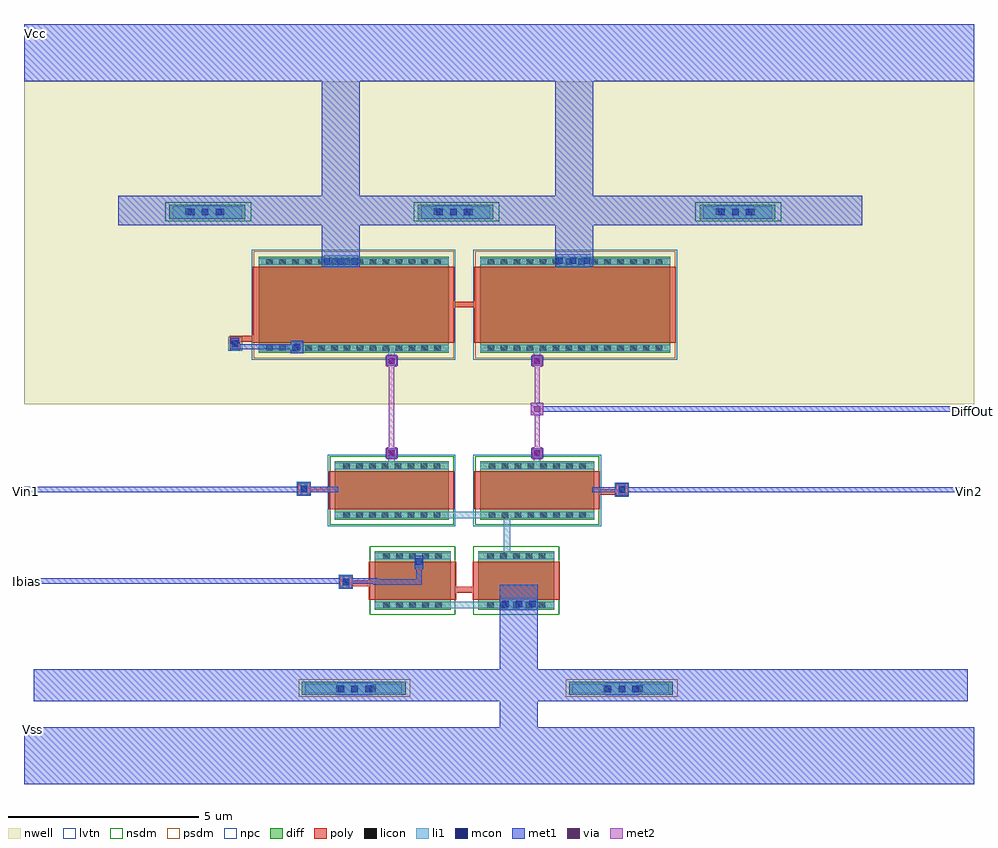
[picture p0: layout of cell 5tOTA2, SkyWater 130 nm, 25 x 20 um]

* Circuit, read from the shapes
.subckt 5tOTA2 DiffOut Ibias Vcc Vin1 Vin2 Vss
XM1 n1 Vin1 n2 VSUBS sky130_fd_pr__nfet_01v8_lvt w=3 l=1
XM2 Ibias Ibias Vss VSUBS sky130_fd_pr__nfet_01v8 w=2 l=1
XM3 n2 Ibias Vss VSUBS sky130_fd_pr__nfet_01v8 w=2 l=1
XM4 DiffOut Vin2 n2 VSUBS sky130_fd_pr__nfet_01v8_lvt w=3 l=1
XM5 Vcc n1 n1 n3 sky130_fd_pr__pfet_01v8_lvt w=5 l=2
XM6 Vcc n1 DiffOut n3 sky130_fd_pr__pfet_01v8_lvt w=5 l=2
.ends

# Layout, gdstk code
from math import pi, radians
import gdstk
lib = gdstk.Library(unit=1e-6, precision=1e-09)
def R(c, l, rs):  # rectangles x0, y0, x1, y1
    for r in rs: c.add(gdstk.rectangle(r[:2], r[2:], *l))
def A(c, l, x, y, w, h, nx, ny, dx, dy):  # array of equal rectangles
    R(c, l, [(x+i*dx, y+j*dy, x+i*dx+w, y+j*dy+h) for i in range(nx) for j in range(ny)])
nwell = (64, 20)
diff = (65, 20)
poly = (66, 20)
licon = (66, 44)
li1 = (67, 20)
mcon = (67, 44)
met1 = (68, 20)
via = (68, 44)
met2 = (69, 20)
nsdm = (93, 44)
psdm = (94, 20)
npc = (95, 20)
lvtn = (125, 44)

pfet_01v8_lvt_cdns_77827 = lib.new_cell('pfet_01v8_lvt_CDNS_778276536562')
R(pfet_01v8_lvt_cdns_77827, nwell, [(-0.445,-0.18,2.445,5.18)])
R(pfet_01v8_lvt_cdns_77827, diff, [(-0.265,0,0,5), (0,0,2,5), (2,0,2.265,5)])
R(pfet_01v8_lvt_cdns_77827, poly, [(0,-0.15,2,-0.095), (0,-0.095,2,0), (0,0,2,5), (0,5,2,5.095), (0,5.095,2,5.15)])
A(pfet_01v8_lvt_cdns_77827, licon, -0.225, 0.205, 0.17, 0.17, 1, 14, 0, 0.34)
A(pfet_01v8_lvt_cdns_77827, licon, 2.055, 0.205, 0.17, 0.17, 1, 14, 0, 0.34)
R(pfet_01v8_lvt_cdns_77827, li1, [(-0.225,0,-0.055,5), (2.055,0,2.225,5)])
R(pfet_01v8_lvt_cdns_77827, psdm, [(-0.405,-0.13,2.405,5.13)])
R(pfet_01v8_lvt_cdns_77827, lvtn, [(-0.445,-0.18,2.445,5.18)])

nfet_01v8_lvt_cdns_77827 = lib.new_cell('nfet_01v8_lvt_CDNS_778276536563')
R(nfet_01v8_lvt_cdns_77827, diff, [(-0.265,0,0,3), (0,0,1,3), (1,0,1.265,3)])
R(nfet_01v8_lvt_cdns_77827, poly, [(0,-0.15,1,-0.095), (0,-0.095,1,0), (0,0,1,3), (0,3,1,3.095), (0,3.095,1,3.15)])
A(nfet_01v8_lvt_cdns_77827, licon, -0.225, 0.225, 0.17, 0.17, 1, 8, 0, 0.34)
A(nfet_01v8_lvt_cdns_77827, licon, 1.055, 0.225, 0.17, 0.17, 1, 8, 0, 0.34)
R(nfet_01v8_lvt_cdns_77827, li1, [(-0.225,0,-0.055,3), (1.055,0,1.225,3)])
R(nfet_01v8_lvt_cdns_77827, nsdm, [(-0.405,-0.13,1.405,3.13)])
R(nfet_01v8_lvt_cdns_77827, lvtn, [(-0.445,-0.18,1.445,3.18)])

nfet_01v8_cdns_778276536 = lib.new_cell('nfet_01v8_CDNS_778276536564')
R(nfet_01v8_cdns_778276536, diff, [(-0.265,0,0,2), (0,0,1,2), (1,0,1.265,2)])
R(nfet_01v8_cdns_778276536, poly, [(0,-0.15,1,-0.095), (0,-0.095,1,0), (0,0,1,2), (0,2,1,2.095), (0,2.095,1,2.15)])
A(nfet_01v8_cdns_778276536, licon, -0.225, 0.235, 0.17, 0.17, 1, 5, 0, 0.34)
A(nfet_01v8_cdns_778276536, licon, 1.055, 0.235, 0.17, 0.17, 1, 5, 0, 0.34)
R(nfet_01v8_cdns_778276536, li1, [(-0.225,0,-0.055,2), (1.055,0,1.225,2)])
R(nfet_01v8_cdns_778276536, nsdm, [(-0.405,-0.13,1.405,2.13)])

l1m1_c_cdns_778276536569 = lib.new_cell('L1M1_C_CDNS_778276536569')
R(l1m1_c_cdns_778276536569, li1, [(-0.085,-0.085,0.085,0.085)])
R(l1m1_c_cdns_778276536569, mcon, [(-0.085,-0.085,0.085,0.085)])
R(l1m1_c_cdns_778276536569, met1, [(-0.145,-0.115,0.145,0.115)])

m1m2_c_cdns_778276536561 = lib.new_cell('M1M2_C_CDNS_7782765365610')
R(m1m2_c_cdns_778276536561, met1, [(-0.16,-0.13,0.16,0.13)])
R(m1m2_c_cdns_778276536561, via, [(-0.075,-0.075,0.075,0.075)])
R(m1m2_c_cdns_778276536561, met2, [(-0.13,-0.16,0.13,0.16)])

l1m1_c_cdns_778276536561 = lib.new_cell('L1M1_C_CDNS_7782765365611')
R(l1m1_c_cdns_778276536561, li1, [(-0.5,-0.165,0.5,0.165)])
A(l1m1_c_cdns_778276536561, mcon, -0.445, -0.085, 0.17, 0.17, 3, 1, 0.36, 0)
R(l1m1_c_cdns_778276536561, met1, [(-0.5,-0.165,0.5,0.165)])

c_l1m1_c_cdns_778276536561 = lib.new_cell('L1M1_C_CDNS_7782765365612')
R(c_l1m1_c_cdns_778276536561, li1, [(-0.445,-0.165,0.445,0.165)])
A(c_l1m1_c_cdns_778276536561, mcon, -0.445, -0.085, 0.17, 0.17, 3, 1, 0.36, 0)
R(c_l1m1_c_cdns_778276536561, met1, [(-0.475,-0.145,0.475,0.145)])

c_l1m1_c_cdns_778276536561_ = lib.new_cell('L1M1_C_CDNS_7782765365613')
R(c_l1m1_c_cdns_778276536561_, li1, [(-0.165,-0.165,0.165,0.165)])
R(c_l1m1_c_cdns_778276536561_, mcon, [(-0.085,-0.085,0.085,0.085)])
R(c_l1m1_c_cdns_778276536561_, met1, [(-0.165,-0.165,0.165,0.165)])

polyconn_cdns_7782765365 = lib.new_cell('polyConn_CDNS_778276536560')
R(polyconn_cdns_7782765365, poly, [(-0.165,-0.165,0.165,0.165)])
R(polyconn_cdns_7782765365, licon, [(-0.085,-0.085,0.085,0.085)])
R(polyconn_cdns_7782765365, li1, [(-0.085,-0.165,0.085,0.165)])
R(polyconn_cdns_7782765365, mcon, [(-0.085,-0.085,0.085,0.085)])
R(polyconn_cdns_7782765365, met1, [(-0.165,-0.165,0.165,0.165)])
R(polyconn_cdns_7782765365, npc, [(-0.185,-0.185,0.185,0.185)])

c_m1m2_c_cdns_778276536561 = lib.new_cell('M1M2_C_CDNS_7782765365614')
R(c_m1m2_c_cdns_778276536561, met1, [(-0.165,-0.165,0.165,0.165)])
R(c_m1m2_c_cdns_778276536561, via, [(-0.075,-0.075,0.075,0.075)])
R(c_m1m2_c_cdns_778276536561, met2, [(-0.165,-0.165,0.165,0.165)])

c_l1m1_c_cdns_778276536561__ = lib.new_cell('L1M1_C_CDNS_7782765365615')
R(c_l1m1_c_cdns_778276536561__, li1, [(-0.085,-0.165,0.085,0.165)])
R(c_l1m1_c_cdns_778276536561__, mcon, [(-0.085,-0.085,0.085,0.085)])
R(c_l1m1_c_cdns_778276536561__, met1, [(-0.115,-0.145,0.115,0.145)])

c_polyconn_cdns_7782765365 = lib.new_cell('polyConn_CDNS_778276536561')
R(c_polyconn_cdns_7782765365, poly, [(-0.135,-0.165,0.135,0.165)])
R(c_polyconn_cdns_7782765365, licon, [(-0.085,-0.085,0.085,0.085)])
R(c_polyconn_cdns_7782765365, li1, [(-0.085,-0.165,0.085,0.165)])
R(c_polyconn_cdns_7782765365, mcon, [(-0.085,-0.085,0.085,0.085)])
R(c_polyconn_cdns_7782765365, met1, [(-0.115,-0.145,0.115,0.145)])
R(c_polyconn_cdns_7782765365, npc, [(-0.185,-0.185,0.185,0.185)])

c_5tota2 = lib.new_cell('5tOTA2')
R(c_5tota2, nwell, [(-0.05,10.025,24.95,18.525)])
R(c_5tota2, diff, [(7.26,2.375,9.99,2.71), (14.295,2.375,17.025,2.71), (3.775,14.89,5.77,15.265), (10.31,14.89,12.305,15.265), (17.73,14.89,19.725,15.265)])
R(c_5tota2, licon, [(8.165,2.45,8.335,2.62), (15.2,2.45,15.37,2.62), (9.03,2.455,9.2,2.625), (16.065,2.455,16.235,2.625), (5.05,14.995,5.22,15.165), (11.585,14.995,11.755,15.165), (19.005,14.995,19.175,15.165), (4.195,15.005,4.365,15.175), (10.73,15.005,10.9,15.175), (18.15,15.005,18.32,15.175)])
R(c_5tota2, li1, [(7.345,2.415,9.885,2.665), (14.38,2.415,16.92,2.665), (3.87,14.905,5.69,15.235), (10.405,14.905,12.225,15.235), (17.825,14.905,19.645,15.235)])
R(c_5tota2, met1, [(-0.05,0.025,24.95,1.525), (0.14,1.385,0.28,1.525), (0.21,2.2,24.785,3.045), (-0.05,5.3,0.09,5.44), (24.75,7.7,24.89,7.84), (-0.05,7.705,0.09,7.845), (24.81,9.82,24.95,9.96), (2.425,14.725,22.005,15.51), (-0.05,18.525,24.95,20.025), (0.14,19.74,0.28,19.88)])
R(c_5tota2, nsdm, [(3.665,14.83,5.925,15.34), (10.2,14.83,12.46,15.34), (17.62,14.83,19.88,15.34)])
R(c_5tota2, psdm, [(7.175,2.325,10.12,2.785), (14.21,2.325,17.155,2.785)])
c_5tota2.add(gdstk.FlexPath([(7.71,7.775),(7.71,7.79)], 0.15, ends=(0.075, 0), simple_path=True, layer=66, datatype=20))  # poly
c_5tota2.add(gdstk.FlexPath([(8,7.775),(7.71,7.775)], 0.15, ends=(0.077, 0.075), simple_path=True, layer=66, datatype=20))  # poly
c_5tota2.add(gdstk.FlexPath([(9.05,5.31),(8.42,5.31)], 0.15, ends=(0.077, 0.075), simple_path=True, layer=66, datatype=20))  # poly
c_5tota2.add(gdstk.FlexPath([(8.42,5.31),(8.42,5.345)], 0.15, ends=(0.075, 0), simple_path=True, layer=66, datatype=20))  # poly
c_5tota2.add(gdstk.FlexPath([(7.315,7.775),(7.315,7.79)], 0.15, ends=(0.075, 0), simple_path=True, layer=66, datatype=20))  # poly
c_5tota2.add(gdstk.FlexPath([(7.71,7.775),(7.315,7.775)], 0.15, ends="extended", simple_path=True, layer=66, datatype=20))  # poly
c_5tota2.add(gdstk.FlexPath([(15.075,7.71),(15.685,7.71)], 0.15, ends=(0.073, 0.075), simple_path=True, layer=66, datatype=20))  # poly
c_5tota2.add(gdstk.FlexPath([(15.685,7.71),(15.685,7.77)], 0.15, ends=(0.075, 0), simple_path=True, layer=66, datatype=20))  # poly
c_5tota2.add(gdstk.FlexPath([(6,11.74),(5.365,11.74)], 0.15, ends=(0.077, 0), simple_path=True, layer=66, datatype=20))  # poly
c_5tota2.add(gdstk.FlexPath([(11.27,5.135),(11.81,5.135)], 0.15, ends="flush", simple_path=True, layer=66, datatype=20))  # poly
c_5tota2.add(gdstk.FlexPath([(11.86,12.64),(11.22,12.64)], 0.15, ends="flush", simple_path=True, layer=66, datatype=20))  # poly
c_5tota2.add(gdstk.FlexPath([(11.99,4.74),(11.99,4.825)], 0.17, ends=(0.085, 0), simple_path=True, layer=67, datatype=20))  # li1
c_5tota2.add(gdstk.FlexPath([(11.175,4.74),(11.99,4.74)], 0.17, ends=(0, 0.085), simple_path=True, layer=67, datatype=20))  # li1
c_5tota2.add(gdstk.FlexPath([(12.665,7.11),(12.665,5.935)], 0.17, ends=(0.085, 0), simple_path=True, layer=67, datatype=20))  # li1
c_5tota2.add(gdstk.FlexPath([(13.455,11.16),(13.455,11.5)], 0.17, ends="extended", simple_path=True, layer=67, datatype=20))  # li1
c_5tota2.add(gdstk.FlexPath([(13.455,8.39),(13.455,8.73)], 0.17, ends="extended", simple_path=True, layer=67, datatype=20))  # li1
c_5tota2.add(gdstk.FlexPath([(9.625,11.16),(9.625,11.5)], 0.17, ends="extended", simple_path=True, layer=67, datatype=20))  # li1
c_5tota2.add(gdstk.FlexPath([(9.625,8.39),(9.625,8.73)], 0.17, ends="extended", simple_path=True, layer=67, datatype=20))  # li1
c_5tota2.add(gdstk.FlexPath([(14.87,7.11),(8.21,7.11)], 0.17, ends="extended", simple_path=True, layer=67, datatype=20))  # li1
c_5tota2.add(gdstk.FlexPath([(13.455,8.73),(13.455,11.16)], 0.14, ends="flush", simple_path=True, layer=69, datatype=20))  # met2
c_5tota2.add(gdstk.FlexPath([(9.625,8.73),(9.625,11.16)], 0.14, ends=(0.16, 0.16), simple_path=True, layer=69, datatype=20))  # met2
c_5tota2.add(gdstk.FlexPath([(8.29,19.53),(8.29,13.78)], 1, ends=(0, 0.145), simple_path=True, layer=68, datatype=20))  # met1
c_5tota2.add(gdstk.FlexPath([(10.345,5.34),(9.215,5.34)], 0.14, ends="extended", simple_path=True, layer=68, datatype=20))  # met1
c_5tota2.add(gdstk.FlexPath([(10.345,5.885),(10.345,5.34)], 0.14, ends=(0, 0.07), simple_path=True, layer=68, datatype=20))  # met1
c_5tota2.add(gdstk.FlexPath([(13.465,9.89),(13.465,9.85)], 0.14, ends="extended", simple_path=True, layer=68, datatype=20))  # met1
c_5tota2.add(gdstk.FlexPath([(9.215,5.37),(-0.05,5.37)], 0.14, ends=(0.07, 0), simple_path=True, layer=68, datatype=20))  # met1
c_5tota2.add(gdstk.FlexPath([(14.9,7.77),(24.89,7.77)], 0.14, ends="flush", simple_path=True, layer=68, datatype=20))  # met1
c_5tota2.add(gdstk.FlexPath([(8.215,7.775),(-0.05,7.775)], 0.14, ends="flush", simple_path=True, layer=68, datatype=20))  # met1
c_5tota2.add(gdstk.FlexPath([(24.95,9.89),(13.465,9.89)], 0.14, ends=(0, 0.07), simple_path=True, layer=68, datatype=20))  # met1
c_5tota2.add(gdstk.FlexPath([(5.43,11.53),(7.14,11.53)], 0.14, ends=(0.07, 0), simple_path=True, layer=68, datatype=20))  # met1
c_5tota2.add(gdstk.FlexPath([(10.345,5.885),(10.345,5.74)], 0.23, ends=(0, 0.07), simple_path=True, layer=68, datatype=20))  # met1
c_5tota2.add(gdstk.FlexPath([(12.975,0.06),(12.975,5.27)], 1, ends="flush", simple_path=True, layer=68, datatype=20))  # met1
c_5tota2.add(gdstk.FlexPath([(9.215,5.34),(9.215,5.37)], 0.14, ends="extended", simple_path=True, layer=68, datatype=20))  # met1
c_5tota2.add(gdstk.FlexPath([(14.43,19.53),(14.43,13.78)], 1, ends=(0, 0.145), simple_path=True, layer=68, datatype=20))  # met1
c_5tota2.add(gdstk.FlexPath([(5.43,11.565),(5.43,11.53)], 0.14, ends=(0, 0.07), simple_path=True, layer=68, datatype=20))  # met1
c_5tota2.add(gdstk.Reference(pfet_01v8_lvt_cdns_77827, (11.955,13.64), rotation=3*pi/2))
c_5tota2.add(gdstk.Reference(pfet_01v8_lvt_cdns_77827, (11.125,13.64), rotation=3*pi/2, x_reflection=True))
c_5tota2.add(gdstk.Reference(nfet_01v8_lvt_cdns_77827, (14.955,7.25), rotation=pi/2))
c_5tota2.add(gdstk.Reference(nfet_01v8_lvt_cdns_77827, (11.125,7.25), rotation=pi/2))
c_5tota2.add(gdstk.Reference(nfet_01v8_cdns_778276536, (11.175,4.88), rotation=pi/2))
c_5tota2.add(gdstk.Reference(nfet_01v8_cdns_778276536, (13.905,4.88), rotation=pi/2))
c_5tota2.add(gdstk.Reference(l1m1_c_cdns_778276536569, (13.455,11.16)))
c_5tota2.add(gdstk.Reference(l1m1_c_cdns_778276536569, (13.455,8.73)))
c_5tota2.add(gdstk.Reference(l1m1_c_cdns_778276536569, (9.625,11.16)))
c_5tota2.add(gdstk.Reference(l1m1_c_cdns_778276536569, (9.625,8.73)))
c_5tota2.add(gdstk.Reference(m1m2_c_cdns_778276536561, (13.455,11.16)))
c_5tota2.add(gdstk.Reference(m1m2_c_cdns_778276536561, (13.455,8.73)))
c_5tota2.add(gdstk.Reference(m1m2_c_cdns_778276536561, (9.625,11.16)))
c_5tota2.add(gdstk.Reference(m1m2_c_cdns_778276536561, (9.625,8.73)))
c_5tota2.add(gdstk.Reference(l1m1_c_cdns_778276536561, (12.975,4.76)))
c_5tota2.add(gdstk.Reference(c_l1m1_c_cdns_778276536561, (18.67,15.075)))
c_5tota2.add(gdstk.Reference(c_l1m1_c_cdns_778276536561, (8.65,2.53)))
c_5tota2.add(gdstk.Reference(c_l1m1_c_cdns_778276536561, (15.685,2.53)))
c_5tota2.add(gdstk.Reference(c_l1m1_c_cdns_778276536561, (14.4,13.795)))
c_5tota2.add(gdstk.Reference(c_l1m1_c_cdns_778276536561, (8.29,13.78)))
c_5tota2.add(gdstk.Reference(c_l1m1_c_cdns_778276536561, (4.715,15.075)))
c_5tota2.add(gdstk.Reference(c_l1m1_c_cdns_778276536561, (11.25,15.075)))
c_5tota2.add(gdstk.Reference(c_l1m1_c_cdns_778276536561_, (7.14,11.53)))
c_5tota2.add(gdstk.Reference(polyconn_cdns_7782765365, (8.42,5.345)))
c_5tota2.add(gdstk.Reference(polyconn_cdns_7782765365, (15.685,7.77)))
c_5tota2.add(gdstk.Reference(polyconn_cdns_7782765365, (7.315,7.79)))
c_5tota2.add(gdstk.Reference(c_m1m2_c_cdns_778276536561, (13.455,9.895)))
c_5tota2.add(gdstk.Reference(c_l1m1_c_cdns_778276536561__, (10.345,5.885)))
c_5tota2.add(gdstk.Reference(c_polyconn_cdns_7782765365, (5.505,11.615)))
c_5tota2.add(gdstk.Label('Ibias', (0.02,5.355), layer=68, texttype=16))
c_5tota2.add(gdstk.Label('Vcc', (0.25,19.785), layer=68, texttype=16))
c_5tota2.add(gdstk.Label('DiffOut', (24.91,9.835), layer=68, texttype=16))
c_5tota2.add(gdstk.Label('Vin2', (24.82,7.73), layer=68, texttype=16))
c_5tota2.add(gdstk.Label('Vin1', (0.005,7.72), layer=68, texttype=16))
c_5tota2.add(gdstk.Label('Vss', (0.18,1.46), layer=68, texttype=16))

lib.write_gds('5tOTA2.gds')
